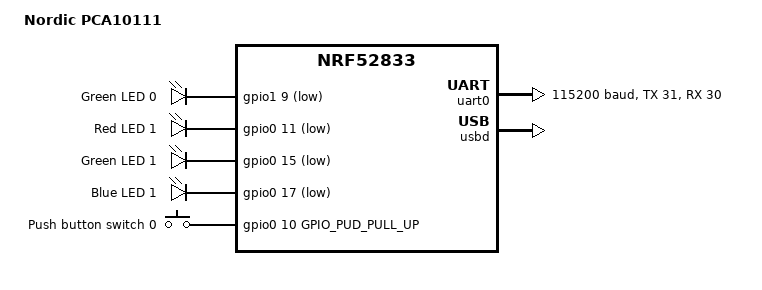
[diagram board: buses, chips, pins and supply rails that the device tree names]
/*
 * Copyright (c) 2020 Nordic Semiconductor ASA
 *
 * SPDX-License-Identifier: LicenseRef-BSD-5-Clause-Nordic
 */

/dts-v1/;
#include <nordic/nrf52833_qiaa.dtsi>

/ {
	model = "Nordic PCA10111";
	compatible = "nordic,pca10111", "nordic,nrf52833-qiaa",
		     "nordic,nrf52833";

	chosen {
		zephyr,console = &uart0;
		zephyr,sram = &sram0;
		zephyr,flash = &flash0;
		zephyr,code-partition = &slot0_partition;
	};

	leds {
		compatible = "gpio-leds";
		led0_green: led_0 {
			gpios = <&gpio1 9 GPIO_INT_ACTIVE_LOW>;
			label = "Green LED 0";
		};
		led1_red: led_1 {
			gpios = <&gpio0 11 GPIO_INT_ACTIVE_LOW>;
			label = "Red LED 1";
		};
		led1_green: led_2 {
			gpios = <&gpio0 15 GPIO_INT_ACTIVE_LOW>;
			label = "Green LED 1";
		};
		led1_blue: led_3 {
			gpios = <&gpio0 17 GPIO_INT_ACTIVE_LOW>;
			label = "Blue LED 1";
		};
	};

	buttons {
		compatible = "gpio-keys";
		button0: button_0 {
			gpios = <&gpio0 10 GPIO_PUD_PULL_UP>;
			label = "Push button switch 0";
		};
	};

	/* These aliases are provided for compatibility with samples */
	aliases {
		sw0 = &button0;
		led0 = &led0_green;
		led1 = &led1_red;
		led2 = &led1_green;
		led3 = &led1_blue;
		led0-green = &led0_green;
		led1-red   = &led1_red;
		led1-green = &led1_green;
		led1-blue  = &led1_blue;
	};
};

&gpiote {
	status = "okay";
};

&gpio0 {
	status = "okay";
};

&gpio1 {
	status = "okay";
};

&uart0 {
	compatible = "nordic,nrf-uart";
	status = "okay";
	current-speed = <115200>;
	tx-pin = <31>;
	rx-pin = <30>;
	rts-pin = <29>;
	cts-pin = <28>;
};


&flash0 {
	/*
	 * For more information, see:
	 * http://docs.zephyrproject.org/latest/guides/dts/index.html#flash-partitions
	 */
	partitions {
		compatible = "fixed-partitions";
		#address-cells = <1>;
		#size-cells = <1>;

		boot_partition: partition@0 {
			label = "mcuboot";
			reg = <0x000000000 0xC000>;
		};
		slot0_partition: partition@c000 {
			label = "image-0";
			reg = <0x0000C000 0x32000>;
		};
		slot1_partition: partition@3e000 {
			label = "image-1";
			reg = <0x0003E000 0x32000>;
		};
		scratch_partition: partition@70000 {
			label = "image-scratch";
			reg = <0x00070000 0xA000>;
		};
		storage_partition: partition@7a000 {
			label = "storage";
			reg = <0x0007A000 0x00006000>;
		};
	};
};

&usbd {
	compatible = "nordic,nrf-usbd";
	status = "okay";
};
